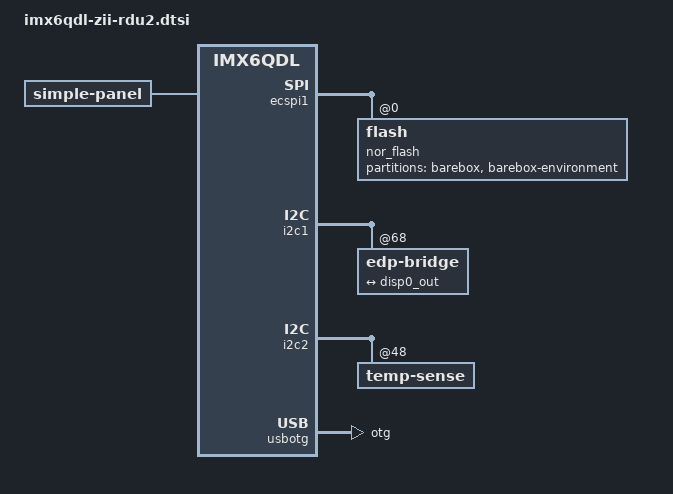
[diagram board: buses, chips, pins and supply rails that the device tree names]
/*
 * Copyright (C) 2016-2017 Zodiac Inflight Innovations
 *
 * This file is dual-licensed: you can use it either under the terms
 * of the GPL or the X11 license, at your option. Note that this dual
 * licensing only applies to this file, and not this project as a
 * whole.
 *
 *  a) This file is free software; you can redistribute it and/or
 *     modify it under the terms of the GNU General Public License
 *     version 2 as published by the Free Software Foundation.
 *
 *     This file is distributed in the hope that it will be useful,
 *     but WITHOUT ANY WARRANTY; without even the implied warranty of
 *     MERCHANTABILITY or FITNESS FOR A PARTICULAR PURPOSE.  See the
 *     GNU General Public License for more details.
 *
 * Or, alternatively,
 *
 *  b) Permission is hereby granted, free of charge, to any person
 *     obtaining a copy of this software and associated documentation
 *     files (the "Software"), to deal in the Software without
 *     restriction, including without limitation the rights to use,
 *     copy, modify, merge, publish, distribute, sublicense, and/or
 *     sell copies of the Software, and to permit persons to whom the
 *     Software is furnished to do so, subject to the following
 *     conditions:
 *
 *     The above copyright notice and this permission notice shall be
 *     included in all copies or substantial portions of the Software.
 *
 *     THE SOFTWARE IS PROVIDED , WITHOUT WARRANTY OF ANY KIND,
 *     EXPRESS OR IMPLIED, INCLUDING BUT NOT LIMITED TO THE WARRANTIES
 *     OF MERCHANTABILITY, FITNESS FOR A PARTICULAR PURPOSE AND
 *     NONINFRINGEMENT. IN NO EVENT SHALL THE AUTHORS OR COPYRIGHT
 *     HOLDERS BE LIABLE FOR ANY CLAIM, DAMAGES OR OTHER LIABILITY,
 *     WHETHER IN AN ACTION OF CONTRACT, TORT OR OTHERWISE, ARISING
 *     FROM, OUT OF OR IN CONNECTION WITH THE SOFTWARE OR THE USE OR
 *     OTHER DEALINGS IN THE SOFTWARE.
 */

#include <arm/imx6qdl-zii-rdu2.dtsi>

/ {
	chosen {
		environment {
			compatible = "barebox,environment";
			device-path = &nor_flash, "partname:barebox-environment";
		};

		ubootenv {
			compatible = "barebox,uboot-environment";
			device-path-0 = &uboot_env_0;
			device-path-1 = &uboot_env_1;
		};
	};

	device-info {
		nvmem-cells = <&lru_part_number>;
		nvmem-cell-names = "lru-part-number";
	};

	aliases {
		ethernet0 = &fec;
		ethernet1 = &i210;
		/*
		 * NVMEM device corresponding to EEPROM attached to
                 * the switch shared DT node with it, so we use that
                 * fact to create a desirable naming
		 */
		switch-eeprom = &switch;
	};

	reserved-memory {
		#address-cells = <1>;
		#size-cells = <1>;
		ranges;

		/* Address will be determined by the bootloader */
		ramoops@2fe00000 {
			compatible = "ramoops";
			reg = <0x2fe00000 0x200000>;
			ecc-size = <16>;
			record-size = <0x20000>;
			console-size = <0x20000>;
			ftrace-size = <0x20000>;
			pmsg-size = <0x20000>;
		};
	};

	panel {
		compatible = "simple-panel";
		/* Timings for all supported panels, the correct one is enabled
		 * after the board data has been retrieved from the environment
		 * controller
		*/

		display-timings {
			innolux-g121i1-l01 {
				compatible = "innolux,g121i1-l01";

				hback-porch = <79>;
				hfront-porch = <80>;
				hactive = <1280>;
				hsync-len = <1>;
				vback-porch = <11>;
				vfront-porch = <11>;
				vactive = <800>;
				vsync-len = <1>;
				clock-frequency = <71000000>;
			};
			nec-nl12880bc20-05 {
				compatible = "nec,nl12880bc20-05";

				hback-porch = <100>;
				hfront-porch = <30>;
				hactive = <1280>;
				hsync-len = <30>;
				vback-porch = <11>;
				vfront-porch = <5>;
				vactive = <800>;
				vsync-len = <7>;
				clock-frequency = <71000000>;
			};
			auo-g133han01 {
				compatible = "auo,g133han01";

				hback-porch = <88>;
				hfront-porch = <58>;
				hactive = <1920>;
				hsync-len = <42>;
				vback-porch = <14>;
				vfront-porch = <8>;
				vactive = <1080>;
				vsync-len = <14>;
				clock-frequency = <141200000>;
			};
			auo-g185han01 {
				compatible = "auo,g185han01";

				hback-porch = <44>;
				hfront-porch = <60>;
				hactive = <1920>;
				hsync-len = <24>;
				vback-porch = <5>;
				vfront-porch = <10>;
				vactive = <1080>;
				vsync-len = <5>;
				clock-frequency = <144000000>;
			};
			nlt-nl192108ac18-02d {
				compatible = "nlt,nl192108ac18-02d";

				hback-porch = <120>;
				hfront-porch = <100>;
				hactive = <1920>;
				hsync-len = <60>;
				vback-porch = <10>;
				vfront-porch = <30>;
				vactive = <1080>;
				vsync-len = <5>;
				clock-frequency = <148350000>;
			};
			auo-p320hvn03 {
				compatible = "auo,p320hvn03";

				hback-porch = <50>;
				hfront-porch = <50>;
				hactive = <1920>;
				hsync-len = <40>;
				vback-porch = <17>;
				vfront-porch = <17>;
				vactive = <1080>;
				vsync-len = <11>;
				clock-frequency = <148500000>;
			};
		};
	};
};

&uart4 {
	rave-sp {
		#address-cells = <1>;
		#size-cells = <1>;

		watchdog {
			nvmem-cells = <&boot_source>;
			nvmem-cell-names = "boot-source";
		};

		eeprom@a4 {
			lru_part_number: lru-part-number@21 {
				reg = <0x21 15>;
				read-only;
			};

			boot_source: boot-source@83 {
				reg = <0x83 1>;
			};

			mac_address_0: mac-address@180 {
				reg = <0x180 6>;
			};

			mac_address_1: mac-address@190 {
				reg = <0x190 6>;
			};
		};
	};
};

&ecspi1 {
	nor_flash: flash@0 {
		#address-cells = <1>;
		#size-cells = <1>;

		partition@0 {
			label = "barebox";
			reg = <0x0 0xc0000>;
		};

		partition@c0000 {
			label = "barebox-environment";
			reg = <0xc0000 0x40000>;
		};
	};
};

&fec {
	nvmem-cells = <&mac_address_0>;
	nvmem-cell-names = "mac-address";
};

&i2c1 {
	edp-bridge@68 {
		pinctrl-0 = <&pinctrl_tc358767>, <&pinctrl_disp0>;

		ports {
			port@1 {
				reg = <1>;

				tc358767_in: endpoint {
					remote-endpoint = <&disp0_out>;
				};
			};
		};
	};
};

&i2c2 {
	temp-sense@48 {
		barebox,sensor-name = "Temp Sensor 1";
	};
};

&ipu1_di0_disp0 {
	remote-endpoint = <&tc358767_in>;
};

&ldb {
	lvds-channel@0 {
		fsl,data-width = <24>;
	};
};

&i210 {
	nvmem-cells = <&mac_address_1>;
	nvmem-cell-names = "mac-address";
};

&usbotg {
	dr_mode = "otg";
};

&usdhc4 {
	partitions {
		compatible = "fixed-partitions";
		#address-cells = <1>;
		#size-cells = <1>;

		/*
		 * Layout info is taken from /etc/fw_env.config
		 */
		uboot_env_0: partition@c0000 {
			label = "uboot-environment-0";
			reg = <0xc0000 0x4000>;
		};

		uboot_env_1: partition@cc800 {
			label = "uboot-environment-1";
			reg = <0xcc800 0x4000>;
		};
	};
};
